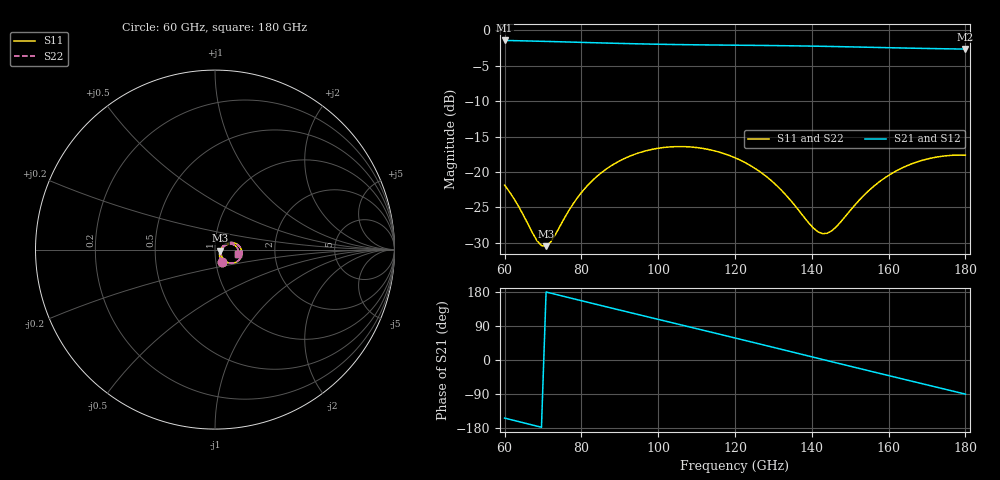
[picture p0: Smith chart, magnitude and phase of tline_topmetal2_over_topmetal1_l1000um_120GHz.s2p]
#  GHZ S DB R 50
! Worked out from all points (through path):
!   101 points, 60 GHz to 180 GHz, reference 50 ohm
!   highest |S21| = -1.45 dB at 60 GHz (marker M1); lowest = -2.7 dB at 180 GHz (marker M2)
!   group delay of S21, straight-line fit = 6.86 ps
!   lowest |S11| = -30.5 dB at 70.8 GHz (marker M3), VSWR 1.06, Z = 53 - j0.622 ohm
!   |S11| at or under -10 dB: start of sweep to end of sweep
!   |S22| runs from -30.5 to -16.4 dB; largest |S21 - S12| = 9.1e-14
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60  -21.84 -62.2  -1.45 -153.3  -1.45 -153.3  -21.85 -62.4
63.6  -24.81 -60.6  -1.49 -162.4  -1.49 -162.4  -24.82 -60.8
68.4  -29.65 -37.6  -1.55 -174.5  -1.55 -174.5  -29.71 -37.8
70.8  -30.46 -11.3  -1.59 179.5  -1.59 179.5  -30.52 -11.2
72  -29.86 1.5  -1.60 176.5  -1.60 176.5  -29.92 1.6
76.8  -25.37 25.4  -1.67 164.5  -1.67 164.5  -25.40 25.6
80.4  -22.63 27.4  -1.73 155.5  -1.73 155.5  -22.65 27.6
85.2  -20.10 23.5  -1.80 143.6  -1.80 143.6  -20.11 23.6
90  -18.42 16.6  -1.87 131.8  -1.87 131.8  -18.43 16.7
96  -17.13 6.4  -1.94 117.0  -1.94 117.0  -17.14 6.5
100.8  -16.59 -2.3  -1.99 105.3  -1.99 105.3  -16.60 -2.3
110.4  -16.58 -20.0  -2.07 81.8  -2.07 81.8  -16.59 -20.0
120  -17.99 -36.7  -2.12 58.1  -2.12 58.1  -18.01 -36.6
129.6  -21.28 -48.7  -2.17 34.3  -2.17 34.3  -21.30 -48.5
135.6  -24.73 -47.4  -2.21 19.4  -2.21 19.4  -24.75 -47.2
140.4  -27.89 -31.4  -2.25 7.4  -2.25 7.4  -27.91 -31.0
142.8  -28.69 -15.9  -2.28 1.5  -2.28 1.5  -28.69 -15.4
145.2  -28.29 0.5  -2.30 -4.5  -2.30 -4.5  -28.26 0.9
152.4  -23.94 22.3  -2.38 -22.4  -2.38 -22.4  -23.92 22.5
160.8  -20.21 18.2  -2.48 -43.1  -2.48 -43.1  -20.19 18.4
170.4  -18.12 4.3  -2.59 -66.6  -2.59 -66.6  -18.11 4.6
180  -17.62 -11.8  -2.67 -90.0  -2.67 -90.0  -17.61 -11.4
